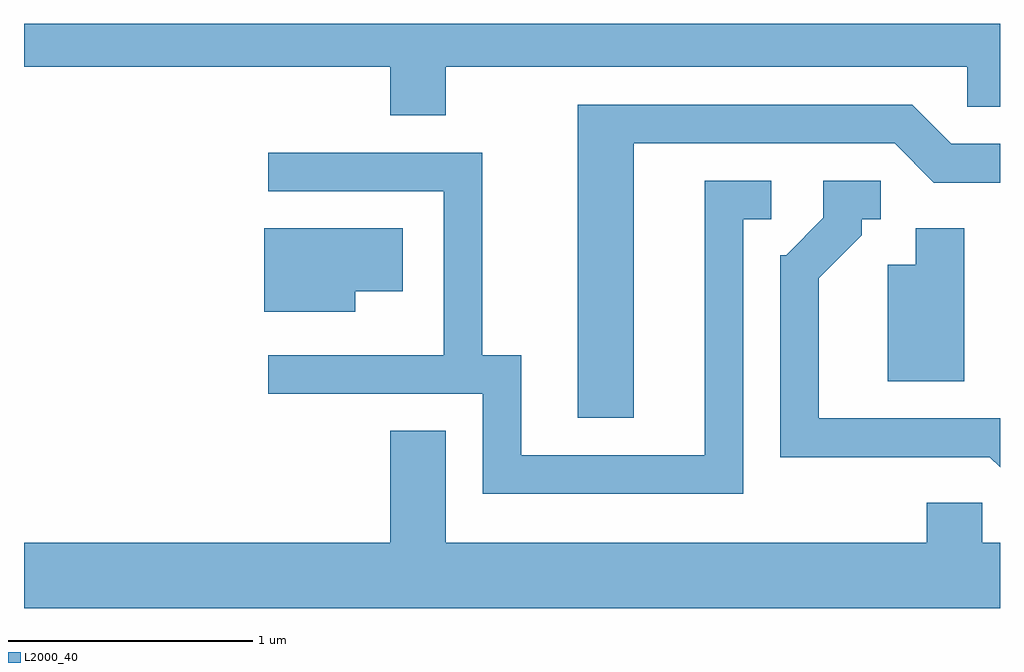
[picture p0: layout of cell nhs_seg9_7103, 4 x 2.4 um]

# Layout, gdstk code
import gdstk
lib = gdstk.Library(unit=1e-6, precision=1e-09)
def P(c, l, *ps):  # polygons
    for p in ps: c.add(gdstk.Polygon(p, *l))
L2000_40 = (2000, 40)

nhs_seg9_7103 = lib.new_cell('nhs_seg9_7103')
P(nhs_seg9_7103, L2000_40, [(397.339,1996.256),(399.476,1996.256),(399.476,1996.091),(399.611,1996.091),(399.611,1996.432),(395.611,1996.432),(395.611,1996.256),(397.111,1996.256),(397.111,1996.056),(397.339,1996.056)],
  [(398.109,1995.941),(399.179,1995.941),(399.339,1995.781),(399.611,1995.781),(399.611,1995.939),(399.412,1995.939),(399.252,1996.099),(397.881,1996.099),(397.881,1994.816),(398.109,1994.816)],
  [(398.559,1995.631),(398.673,1995.631),(398.673,1995.789),(398.401,1995.789),(398.401,1994.664),(397.649,1994.664),(397.649,1995.074),(397.489,1995.074),(397.489,1995.904),(396.613,1995.904),(396.613,1995.746),(397.331,1995.746),(397.331,1995.074),(396.613,1995.074),(396.613,1994.916),(397.491,1994.916),(397.491,1994.506),(398.559,1994.506)],
  [(399.611,1994.814),(398.869,1994.814),(398.869,1995.389),(399.044,1995.564),(399.044,1995.631),(399.123,1995.631),(399.123,1995.789),(398.886,1995.789),(398.886,1995.637),(398.734,1995.484),(398.711,1995.484),(398.711,1994.656),(399.569,1994.656),(399.611,1994.614)],
  [(396.969,1995.336),(397.164,1995.336),(397.164,1995.594),(396.596,1995.594),(396.596,1995.251),(396.969,1995.251)],
  [(399.464,1995.594),(399.266,1995.594),(399.266,1995.444),(399.151,1995.444),(399.151,1994.966),(399.464,1994.966)],
  [(399.611,1994.304),(399.539,1994.304),(399.539,1994.469),(399.311,1994.469),(399.311,1994.304),(397.339,1994.304),(397.339,1994.764),(397.111,1994.764),(397.111,1994.304),(395.611,1994.304),(395.611,1994.036),(399.611,1994.036)])

lib.write_gds('nhs_seg9_7103.gds')
